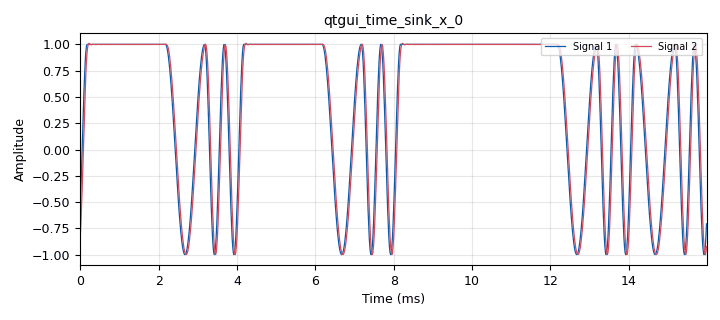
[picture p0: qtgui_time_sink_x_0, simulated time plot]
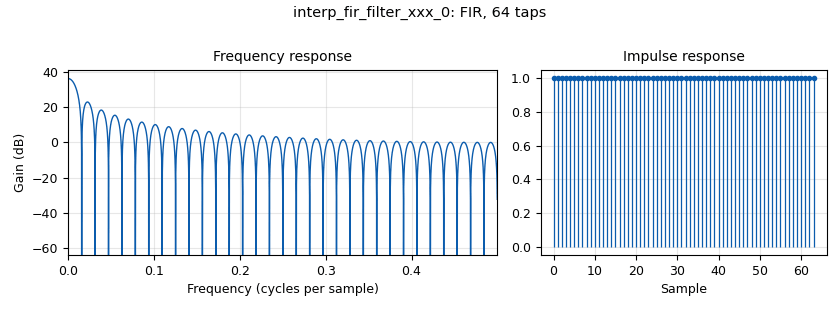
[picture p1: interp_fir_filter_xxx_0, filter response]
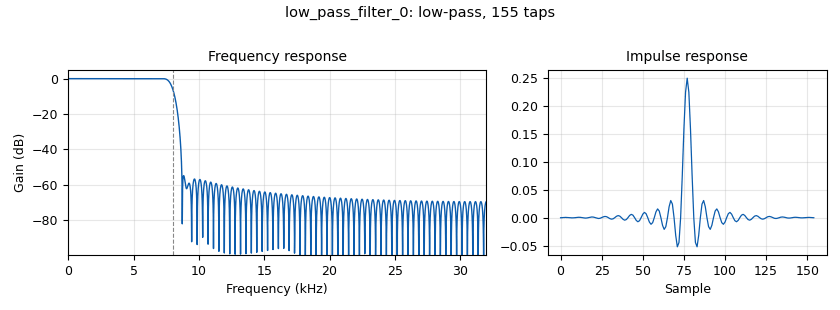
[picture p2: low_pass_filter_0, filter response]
options:
  parameters:
    author: p
    generate_options: qt_gui
    id: week2_lecture12
    output_language: python
    title: Not titled yet
  states: {}

blocks:
- name: fc
  id: variable
  parameters:
    value: '8000'
  states: {}
- name: samp_rate
  id: variable
  parameters:
    value: '64000'
  states: {}
- name: analog_random_source_x_0
  id: analog_random_source_x
  parameters:
    max: '2'
    min: '0'
    num_samps: '1000'
    repeat: 'True'
    type: int
  states: {}
- name: analog_sig_source_x_0
  id: analog_sig_source_x
  parameters:
    amp: '1.414'
    freq: fc
    offset: '0'
    phase: '0'
    samp_rate: samp_rate
    type: float
    waveform: analog.GR_COS_WAVE
  states: {}
- name: analog_sig_source_x_0_0
  id: analog_sig_source_x
  parameters:
    amp: '1.414'
    freq: fc
    offset: '0'
    phase: '0'
    samp_rate: samp_rate
    type: float
    waveform: analog.GR_COS_WAVE
  states: {}
- name: blocks_delay_0
  id: blocks_delay
  parameters:
    delay: '75'
    type: float
  states: {}
- name: blocks_multiply_xx_0
  id: blocks_multiply_xx
  parameters:
    type: float
  states: {}
- name: blocks_multiply_xx_0_0
  id: blocks_multiply_xx
  parameters:
    type: float
  states: {}
- name: blocks_throttle2_0
  id: blocks_throttle2
  parameters:
    samples_per_second: samp_rate
    type: float
  states: {}
- name: blocks_vco_f_0
  id: blocks_vco_f
  parameters:
    amplitude: '1'
    samp_rate: samp_rate
    sensitivity: 2*numpy.pi*1000
  states: {}
- name: digital_chunks_to_symbols_xx_0
  id: digital_chunks_to_symbols_xx
  parameters:
    dimension: '2'
    in_type: int
    out_type: float
    symbol_table: '[1,2]'
  states: {}
- name: import_0
  id: import
  parameters:
    imports: import numpy
  states: {}
- name: interp_fir_filter_xxx_0
  id: interp_fir_filter_xxx
  parameters:
    interp: samp_rate // 1000
    taps: numpy.ones(samp_rate // 1000)
    type: fff
  states: {}
- name: low_pass_filter_0
  id: low_pass_filter
  parameters:
    cutoff_freq: fc
    decim: '1'
    gain: '1'
    samp_rate: samp_rate
    type: fir_filter_fff
    width: '1000'
    win: window.WIN_HAMMING
  states: {}
- name: qtgui_time_sink_x_0
  id: qtgui_time_sink_x
  parameters:
    autoscale: 'True'
    grid: 'True'
    nconnections: '2'
    size: '1024'
    srate: samp_rate
    type: float
  states: {}

connections:
- [analog_random_source_x_0, '0', digital_chunks_to_symbols_xx_0, '0']
- [analog_sig_source_x_0, '0', blocks_multiply_xx_0, '1']
- [analog_sig_source_x_0_0, '0', blocks_multiply_xx_0_0, '1']
- [blocks_delay_0, '0', qtgui_time_sink_x_0, '0']
- [blocks_multiply_xx_0, '0', blocks_multiply_xx_0_0, '0']
- [blocks_multiply_xx_0_0, '0', low_pass_filter_0, '0']
- [blocks_throttle2_0, '0', blocks_delay_0, '0']
- [blocks_vco_f_0, '0', blocks_multiply_xx_0, '0']
- [blocks_vco_f_0, '0', blocks_throttle2_0, '0']
- [digital_chunks_to_symbols_xx_0, '0', interp_fir_filter_xxx_0, '0']
- [interp_fir_filter_xxx_0, '0', blocks_vco_f_0, '0']
- [low_pass_filter_0, '0', qtgui_time_sink_x_0, '1']

metadata:
  file_format: 1
  grc_version: 3.10.7.0
